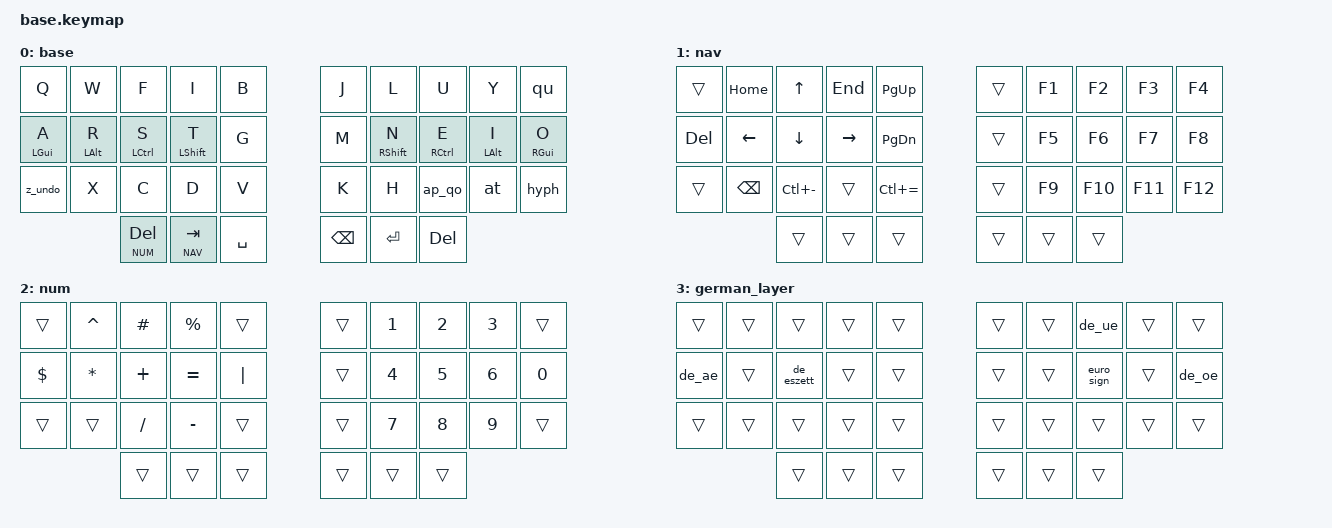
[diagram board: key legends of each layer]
#include <behaviors.dtsi>
#include <dt-bindings/zmk/keys.h>

#include "../zmk-nodefree-config/helper.h"
#include "../zmk-nodefree-config/international_chars/german.dtsi"

/* layer and key shortcuts */

#define ___ &trans

#define DEF 0  // layer shortcuts, must match order in which they are defined below
#define NAV 1
#define NUM 2
#define GER 3

/* custom behaviors */

// homerow mods
ZMK_BEHAVIOR(hrm, hold_tap,
    flavor = "balanced";
    tapping-term-ms = <280>;
    quick-tap-ms = <125>;
    bindings = <&kp>, <&kp>;
)

// tap: sticky shift | double tap: capsword
ZMK_BEHAVIOR(ss_cw, tap_dance,
    tapping-term-ms = <200>;
    bindings = <&sk LSHFT>, <&caps_word>;
)

// tap: backspace | shift + tap: delete | hold: num layer
ZMK_BEHAVIOR(bs_del_num, mod_morph,
    bindings = <&lt NUM BSPC>, <&kp DEL>;
    mods = <(MOD_LSFT|MOD_RSFT)>;
)

// windows sleep macro
ZMK_BEHAVIOR(win_sleep, macro,
    wait-ms = <100>;
    tap-ms = <5>;
    bindings = <&kp LG(X) &kp U &kp S>;
)

// euro sign
ZMK_UNICODE_SINGLE(euro_sign, N2, N0, A, C)  // €

// replace a/o/u/s with German umlauts when NAV and NUM are held jointly
ZMK_CONDITIONAL_LAYER(NAV NUM, GER)

// combos
#undef COMBO_TERM
#define COMBO_TERM 40  // timeout of 40ms (default is 30ms if omitted)
ZMK_COMBO(Save, &kp LC(S), LM1 LM2, ALL)
ZMK_COMBO(Capsword, &caps_word, LM1 LM2 LM3, ALL)
ZMK_COMBO(esc, &kp ESC, LT1 LT2, ALL)
ZMK_COMBO(semicolon, &kp SEMICOLON, RT1 RT2, ALL)
ZMK_COMBO(colon, &kp COLON, RT1 RT2 RT3, ALL)
ZMK_COMBO(dot, &kp DOT, RM1 RM2, ALL)
ZMK_COMBO(comma, &kp COMMA, RM1 RM2 RM3, ALL)
ZMK_COMBO(par, &par, RB1 RB2, ALL)
ZMK_COMBO(bracket, &br, RB1 RB2 RB3, ALL)
ZMK_COMBO(slash, &sla, LB1 LB2, ALL)
ZMK_COMBO(undo, &kp LC(Z), LB3 LB4, ALL)

ZMK_BEHAVIOR(qu, tap_dance,
    tapping-term-ms = <200>;
    bindings = <&kp QUESTION>, <&kp EXCLAMATION>;
)

ZMK_BEHAVIOR(z_undo, tap_dance,
    tapping-term-ms = <200>;
    bindings = <&kp Z>, <&kp LC(Z)>;
)

ZMK_BEHAVIOR(ap_qo, tap_dance,
    tapping-term-ms = <200>;
    bindings = <&kp APOSTROPHE>, <&kp DOUBLE_QUOTES>;
)

ZMK_BEHAVIOR(at, tap_dance,
    tapping-term-ms = <200>;
    bindings = <&kp AT_SIGN>, <&kp AMPERSAND>;
)

ZMK_BEHAVIOR(sla, tap_dance,
    tapping-term-ms = <200>;
    bindings = <&kp SLASH>, <&kp BACKSLASH>;
)

ZMK_BEHAVIOR(par, tap_dance,
    tapping-term-ms = <200>;
    bindings = <&kp LPAR>, <&kp RPAR>;
)

ZMK_BEHAVIOR(br, tap_dance,
    tapping-term-ms = <200>;
    bindings = <&kp LEFT_BRACKET>, <&kp RIGHT_BRACKET>;
)

ZMK_BEHAVIOR(hyph, tap_dance,
    tapping-term-ms = <200>;
    bindings = <&kp MINUS>, <&kp UNDERSCORE>, <&kp TILDE>;
)

/* keymap */

ZMK_LAYER(base,
// ╭────────────────────────┬────────────────────────┬────────────────────────┬────────────────────────┬────────────────────────╮    ╭────────────────────────┬────────────────────────┬────────────────────────┬───────────────────────┬────────────────────────╮
     &kp Q                    &kp W                    &kp F                    &kp I                    &kp B                         &kp J                    &kp L                    &kp U                    &kp Y                    &qu 
// ├────────────────────────┼────────────────────────┼────────────────────────┼────────────────────────┼────────────────────────┤    ├────────────────────────┼────────────────────────┼────────────────────────┼───────────────────────┼────────────────────────┤
     &hrm LGUI A              &hrm LALT R              &hrm LCTRL S             &hrm LSHFT T             &kp G                         &kp M                    &hrm RSHFT N             &hrm RCTRL E             &hrm LALT I              &hrm RGUI O
// ├────────────────────────┼────────────────────────┼────────────────────────┼────────────────────────┼────────────────────────┤    ├────────────────────────┼────────────────────────┼────────────────────────┼───────────────────────┼────────────────────────┤
     &z_undo                  &kp X                    &kp C                    &kp D                    &kp V                         &kp K                    &kp H                    &ap_qo                   &at                      &hyph
// ╰────────────────────────┴────────────────────────┴────────────────────────┴────────────────────────┼────────────────────────┤    ├────────────────────────┼────────────────────────┼────────────────────────┴───────────────────────┴────────────────────────╯
                                                       &lt NUM DEL              &lt NAV TAB              &kp SPACE                     &kp BACKSPACE            &kp ENTER                &kp DEL
//                                                   ╰────────────────────────┴────────────────────────┴────────────────────────╯    ╰────────────────────────┴────────────────────────┴────────────────────────╯
)

ZMK_LAYER(nav,            
// ╭────────────────────────┬────────────────────────┬────────────────────────┬────────────────────────┬────────────────────────╮    ╭────────────────────────┬────────────────────────┬────────────────────────┬───────────────────────┬────────────────────────╮
     ___                      &kp HOME                 &kp UP                   &kp END                  &kp PAGE_UP                   ___                       &kp F1                   &kp F2                  &kp F3                   &kp F4
// ├────────────────────────┼────────────────────────┼────────────────────────┼────────────────────────┼────────────────────────┤    ├────────────────────────┼────────────────────────┼────────────────────────┼───────────────────────┼────────────────────────┤
     &kp DEL                  &kp LEFT                 &kp DOWN                 &kp RIGHT                &kp PAGE_DOWN                 &trans                    &kp F5                   &kp F6                  &kp F7                   &kp F8
// ├────────────────────────┼────────────────────────┼────────────────────────┼────────────────────────┼────────────────────────┤    ├────────────────────────┼────────────────────────┼────────────────────────┼───────────────────────┼────────────────────────┤
     ___                      &kp BACKSPACE            &kp LC(MINUS)            &trans                   &kp LC(EQUAL)                 ___                       &kp F9                   &kp F10                 &kp F11                  &kp F12
// ╰────────────────────────┴────────────────────────┴────────────────────────┼────────────────────────┼────────────────────────┤    ├────────────────────────┼────────────────────────┼────────────────────────┴───────────────────────┴────────────────────────╯
                                                       ___                       ___                      ___                          ___                       ___                      ___ 
//                                                   ╰────────────────────────┴────────────────────────┴────────────────────────╯    ╰────────────────────────┴────────────────────────┴────────────────────────╯
)

ZMK_LAYER(num,
// ╭────────────────────────┬────────────────────────┬────────────────────────┬────────────────────────┬────────────────────────╮    ╭────────────────────────┬────────────────────────┬────────────────────────┬───────────────────────┬────────────────────────╮
     ___                      &kp CARET                &kp HASH                 &kp PERCENT              ___                           ___                       &kp N1                   &kp N2                  &kp N3                   ___
// ├────────────────────────┼────────────────────────┼────────────────────────┼────────────────────────┼────────────────────────┤    ├────────────────────────┼────────────────────────┼────────────────────────┼───────────────────────┼────────────────────────┤
     &kp DOLLAR               &kp STAR                 &kp PLUS                 &kp EQUAL                &kp PIPE                      ___                       &kp N4                   &kp N5                  &kp N6                   &kp N0
// ├────────────────────────┼────────────────────────┼────────────────────────┼────────────────────────┼────────────────────────┤    ├────────────────────────┼────────────────────────┼────────────────────────┼───────────────────────┼────────────────────────┤
     ___                      ___                      &kp SLASH                &kp MINUS                ___                           ___                       &kp N7                   &kp N8                  &kp N9                   ___
// ╰────────────────────────┴────────────────────────┴────────────────────────┼────────────────────────┼────────────────────────┤    ├────────────────────────┼────────────────────────┼────────────────────────┴───────────────────────┴────────────────────────╯
                                                       ___                      ___                      ___                           ___                       ___                      ___ 
//                                                   ╰────────────────────────┴────────────────────────┴────────────────────────╯    ╰────────────────────────┴────────────────────────┴────────────────────────╯
)

ZMK_LAYER(german_layer,
     // ╭─────────────┬─────────────┬─────────────┬─────────────┬─────────────╮   ╭─────────────┬─────────────┬─────────────┬─────────────┬─────────────╮
          ___           ___           ___           ___           ___               ___           ___           &de_ue        ___           ___
     // ├─────────────┼─────────────┼─────────────┼─────────────┼─────────────┤   ├─────────────┼─────────────┼─────────────┼─────────────┼─────────────┤
          &de_ae        ___           &de_eszett    ___           ___               ___           ___           &euro_sign    ___           &de_oe
     // ├─────────────┼─────────────┼─────────────┼─────────────┼─────────────┤   ├─────────────┼─────────────┼─────────────┼─────────────┼─────────────┤
          ___           ___           ___           ___           ___               ___           ___           ___           ___           ___
     // ╰─────────────┼─────────────┼─────────────┼─────────────┼─────────────┤   ├─────────────┼─────────────┼─────────────┼─────────────┼─────────────┤
                                      ___           ___           ___               ___           ___           ___
     //                             ╰─────────────┴─────────────┴─────────────╯   ╰─────────────┴─────────────┴─────────────╯
)

